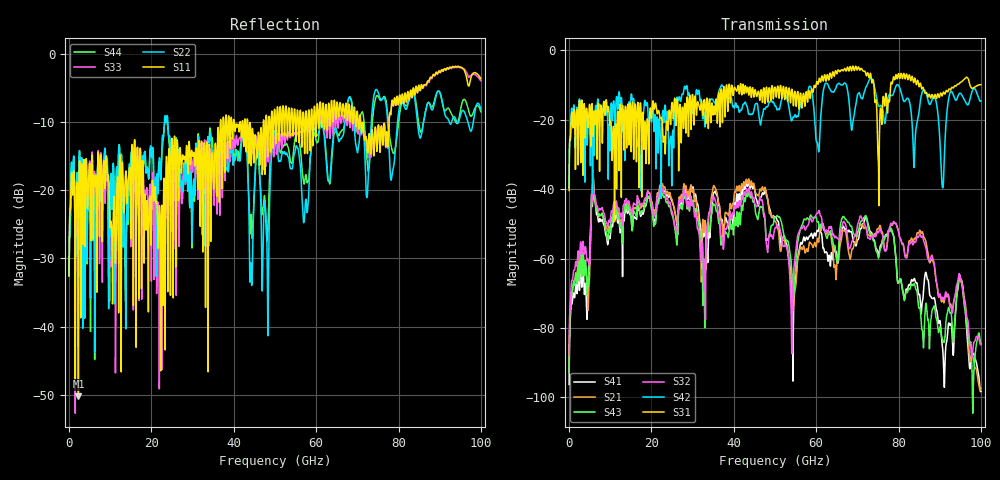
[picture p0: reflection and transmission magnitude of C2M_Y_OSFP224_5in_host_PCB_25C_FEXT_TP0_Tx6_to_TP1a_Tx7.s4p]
# GHz S RI R 45
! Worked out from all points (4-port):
!   4000 points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, 25 MHz to 100 GHz, reference 45 ohm
!   strongest paths, dB at 25 MHz, 25.02 GHz, 50.02 GHz, 75.03 GHz, 100 GHz:
!     S31: -40.4, -15.0, -10.6, -30.3, -9.9
!     S42: -39.6, -29.2, -16.0, -15.6, -14.6
!     S32: -87.7, -46.4, -51.2, -52.4, -84.9
!     S43: -92.9, -47.3, -48.2, -59.5, -84.5
!     S21: -92.9, -43.0, -49.3, -51.4, -97.5
!     S41: -96.3, -43.5, -48.1, -58.5, -98.3
!   lowest |S11| = -50.3 dB at 2.275 GHz (marker M1), VSWR 1.01, Z = 44.7 - j0.0401 ohm
!   |S11| at or under -10 dB: start of sweep to 36.75 GHz; 43.39 GHz to 47.19 GHz (3.803 GHz wide, 8.4 % of centre); 70.83 GHz to 77.7 GHz (6.866 GHz wide, 9.25 % of centre)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
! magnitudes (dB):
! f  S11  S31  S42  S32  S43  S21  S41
! 25 MHz  -32.5  -40.4  -39.6  -87.7  -92.9  -92.9  -96.3
! 2.275 GHz  -50.3  -29.1  -22.0  -57.9  -61.3  -60.8  -64.5
! 5.9 GHz  -27.1  -24.3  -21.8  -36.7  -37.0  -37.2  -37.4
! 43.35 GHz  -9.7  -10.6  -16.6  -41.0  -42.1  -38.4  -39.2
! 54.42 GHz  -12.0  -15.4  -19.2  -66.0  -70.0  -74.9  -86.2
! 72.08 GHz  -12.1  -6.9  -10.6  -51.0  -47.6  -51.0  -47.9
! 100 GHz  -3.6  -9.9  -14.6  -84.9  -84.5  -97.5  -98.3
